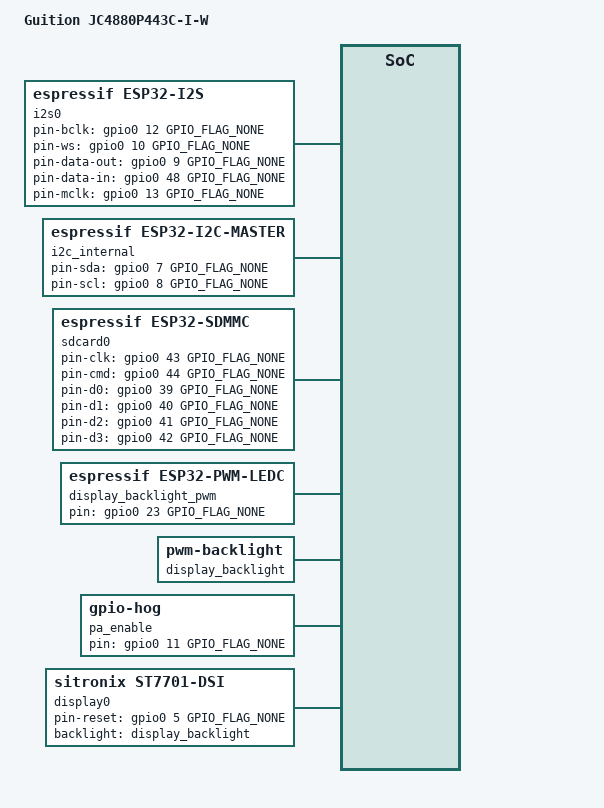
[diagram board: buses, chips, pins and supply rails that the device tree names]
/dts-v1/;
#include <tactility/bindings/root.h>
#include <tactility/bindings/esp32_ble.h>
#include <tactility/bindings/esp32_gpio.h>
#include <tactility/bindings/esp32_i2c_master.h>
#include <tactility/bindings/esp32_i2s.h>
#include <tactility/bindings/esp32_sdmmc.h>
#include <tactility/bindings/esp32_wifi.h>
#include <tactility/bindings/esp32_pwm_ledc.h>
#include <tactility/bindings/pwm_backlight.h>
#include <tactility/bindings/gpio_hog.h>

#include <bindings/st7701_dsi.h>
#include <bindings/gt911.h>
#include <bindings/es8311.h>
#include <bindings/es7243e.h>

/ {
	compatible = "root";
	model = "Guition JC4880P443C-I-W";

	wifi0 {
		compatible = "espressif,esp32-wifi";
	};

	ble0 {
		compatible = "espressif,esp32-ble";
	};

	gpio0 {
		compatible = "espressif,esp32-gpio";
		gpio-count = <55>;
	};

	// Speaker and microphone (ES8311)
	i2s0 {
		compatible = "espressif,esp32-i2s";
		port = <I2S_NUM_0>;
		pin-bclk = <&gpio0 12 GPIO_FLAG_NONE>;
		pin-ws = <&gpio0 10 GPIO_FLAG_NONE>;
		pin-data-out = <&gpio0 9 GPIO_FLAG_NONE>;
		pin-data-in = <&gpio0 48 GPIO_FLAG_NONE>;
		pin-mclk = <&gpio0 13 GPIO_FLAG_NONE>;
	};

	i2c_internal: i2c0 {
		compatible = "espressif,esp32-i2c-master";
		port = <I2C_NUM_0>;
		clock-frequency = <400000>;
		pin-sda = <&gpio0 7 GPIO_FLAG_NONE>;
		pin-scl = <&gpio0 8 GPIO_FLAG_NONE>;

		touch0: gt911@5D {
			compatible = "goodix,gt911";
			reg = <0x5D>;
			x-max = <480>;
			y-max = <800>;
			status = "okay";
		};

		es8311: es8311@18 {
			compatible = "everest,es8311";
			reg = <0x18>;
			i2s = <&i2s0>;
		};
		es7243e: es7243e@14 {
			compatible = "everest,es7243e";
			reg = <0x14>;
			i2s = <&i2s0>;
		};
	};

	sdcard0: sdcard0 {
		compatible = "espressif,esp32-sdmmc";
		slot = <0>;
		bus-width = <4>;
		pin-clk = <&gpio0 43 GPIO_FLAG_NONE>;
		pin-cmd = <&gpio0 44 GPIO_FLAG_NONE>;
		pin-d0 = <&gpio0 39 GPIO_FLAG_NONE>;
		pin-d1 = <&gpio0 40 GPIO_FLAG_NONE>;
		pin-d2 = <&gpio0 41 GPIO_FLAG_NONE>;
		pin-d3 = <&gpio0 42 GPIO_FLAG_NONE>;
		on-chip-ldo-chan = <4>;
	};

	display_backlight_pwm {
		compatible = "espressif,esp32-pwm-ledc";
		pin = <&gpio0 23 GPIO_FLAG_NONE>;
		period-ns = <200000>;
		ledc-timer = <0>;
		ledc-channel = <0>;
		status = "okay";
	};

	display_backlight {
		compatible = "pwm-backlight";
		pwm = <&display_backlight_pwm>;
		status = "okay";
	};

	// Speaker PA enable (GPIO11 active high)
	pa_enable {
		compatible = "gpio-hog";
		pin = <&gpio0 11 GPIO_FLAG_NONE>;
		mode = <GPIO_HOG_MODE_OUTPUT_HIGH>;
		status = "okay";
	};

	display0: st7701-dsi@0 {
		compatible = "sitronix,st7701-dsi";
		horizontal-resolution = <480>;
		vertical-resolution = <800>;
		bits-per-pixel = <16>;
		pin-reset = <&gpio0 5 GPIO_FLAG_NONE>;
		ldo-channel = <3>;
		ldo-voltage-mv = <2500>;
		dsi-bus-id = <0>;
		num-data-lanes = <2>;
		lane-bit-rate-mbps = <500>;
		dpi-clock-freq-mhz = <34>;
		hsync-pulse-width = <12>;
		hsync-back-porch = <42>;
		hsync-front-porch = <42>;
		vsync-pulse-width = <2>;
		vsync-back-porch = <8>;
		vsync-front-porch = <166>;
		num-fbs = <2>;
		use-dma2d;
		allow-tearing;
		backlight = <&display_backlight>;
		init-sequence = [
			0xFF 0x05 0x00 0x77 0x01 0x00 0x00 0x13
			0xEF 0x01 0x00 0x08
			0xFF 0x05 0x00 0x77 0x01 0x00 0x00 0x10
			0xC0 0x02 0x00 0x63 0x00
			0xC1 0x02 0x00 0x0D 0x02
			0xC2 0x02 0x00 0x10 0x08
			0xCC 0x01 0x00 0x10
			0xB0 0x10 0x00 0x80 0x09 0x53 0x0C 0xD0 0x07 0x0C 0x09 0x09 0x28 0x06 0xD4 0x13 0x69 0x2B 0x71
			0xB1 0x10 0x00 0x80 0x94 0x5A 0x10 0xD3 0x06 0x0A 0x08 0x08 0x25 0x03 0xD3 0x12 0x66 0x6A 0x0D
			0xFF 0x05 0x00 0x77 0x01 0x00 0x00 0x11
			0xB0 0x01 0x00 0x5D
			0xB1 0x01 0x00 0x58
			0xB2 0x01 0x00 0x87
			0xB3 0x01 0x00 0x80
			0xB5 0x01 0x00 0x4E
			0xB7 0x01 0x00 0x85
			0xB8 0x01 0x00 0x21
			0xB9 0x02 0x00 0x10 0x1F
			0xBB 0x01 0x00 0x03
			0xBC 0x01 0x00 0x00
			0xC1 0x01 0x00 0x78
			0xC2 0x01 0x00 0x78
			0xD0 0x01 0x00 0x88
			0xE0 0x03 0x00 0x00 0x3A 0x02
			0xE1 0x0B 0x00 0x04 0xA0 0x00 0xA0 0x05 0xA0 0x00 0xA0 0x00 0x40 0x40
			0xE2 0x0D 0x00 0x30 0x00 0x40 0x40 0x32 0xA0 0x00 0xA0 0x00 0xA0 0x00 0xA0 0x00
			0xE3 0x04 0x00 0x00 0x00 0x33 0x33
			0xE4 0x02 0x00 0x44 0x44
			0xE5 0x10 0x00 0x09 0x2E 0xA0 0xA0 0x0B 0x30 0xA0 0xA0 0x05 0x2A 0xA0 0xA0 0x07 0x2C 0xA0 0xA0
			0xE6 0x04 0x00 0x00 0x00 0x33 0x33
			0xE7 0x02 0x00 0x44 0x44
			0xE8 0x10 0x00 0x08 0x2D 0xA0 0xA0 0x0A 0x2F 0xA0 0xA0 0x04 0x29 0xA0 0xA0 0x06 0x2B 0xA0 0xA0
			0xEB 0x07 0x00 0x00 0x00 0x4E 0x4E 0x00 0x00 0x00
			0xEC 0x02 0x00 0x08 0x01
			0xED 0x10 0x00 0xB0 0x2B 0x98 0xA4 0x56 0x7F 0xFF 0xFF 0xFF 0xFF 0xF7 0x65 0x4A 0x89 0xB2 0x0B
			0xEF 0x06 0x00 0x08 0x08 0x08 0x45 0x3F 0x54
			0xFF 0x05 0x00 0x77 0x01 0x00 0x00 0x00
			0x11 0x01 0x78 0x00
			0x29 0x01 0x14 0x00
		];
		status = "okay";
	};
};
